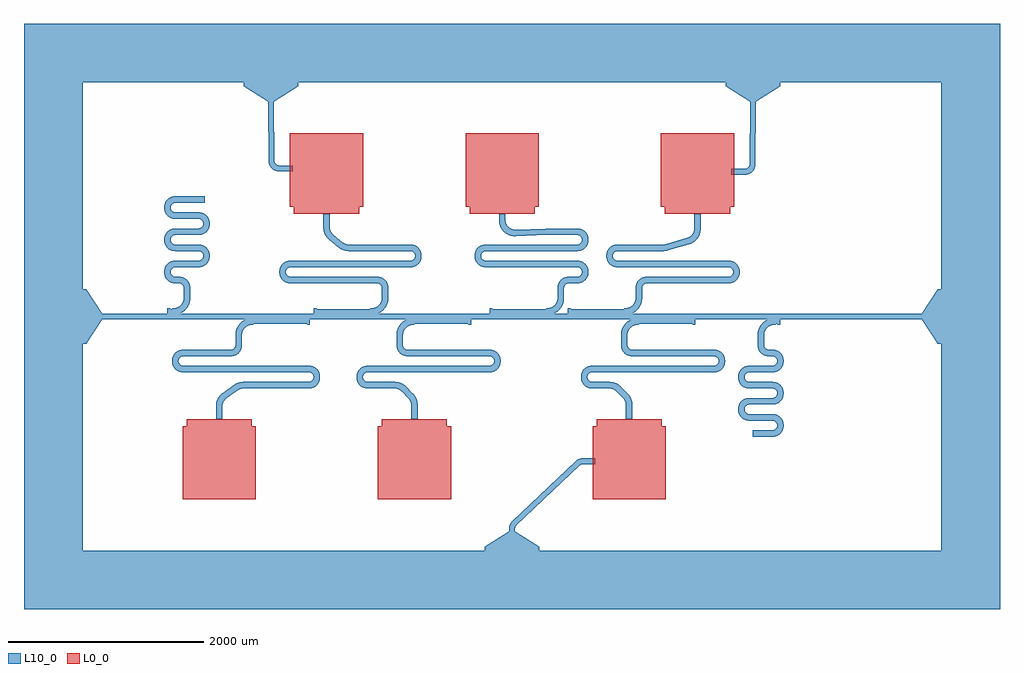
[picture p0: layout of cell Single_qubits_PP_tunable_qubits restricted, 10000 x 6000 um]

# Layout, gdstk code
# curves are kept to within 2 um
import gdstk
lib = gdstk.Library(unit=1e-6, precision=1e-09)
def R(c, l, rs):  # rectangles x0, y0, x1, y1
    for r in rs: c.add(gdstk.rectangle(r[:2], r[2:], *l))
def P(c, l, *ps):  # polygons
    for p in ps: c.add(gdstk.Polygon(p, *l))
L0_0 = (0, 0)
L10_0 = (10, 0)

single_qubits_pp_tunable = lib.new_cell('Single_qubits_PP_tunable_qubits restricted')
P(single_qubits_pp_tunable, L0_0, [(2725,4875),(2725,4125),(2766,4125),(2766,4051),(3434,4051),(3434,4125),(3475,4125),(3475,4875)],
  [(6566,4125),(6566,4051),(7234,4051),(7234,4125),(7275,4125),(7275,4875),(6525,4875),(6525,4125)],
  [(2375,1125),(2375,1875),(2334,1875),(2334,1949),(1666,1949),(1666,1875),(1625,1875),(1625,1125)],
  [(6534,1875),(6534,1949),(5866,1949),(5866,1875),(5825,1875),(5825,1125),(6575,1125),(6575,1875)],
  [(4375,1125),(4375,1875),(4334,1875),(4334,1949),(3666,1949),(3666,1875),(3625,1875),(3625,1125)],
  [(4525,4875),(4525,4125),(4566,4125),(4566,4051),(5234,4051),(5234,4125),(5275,4125),(5275,4875)],
  [(2725,4875),(2725,4125),(2766,4125),(2766,4051),(3434,4051),(3434,4125),(3475,4125),(3475,4875)],
  [(6566,4125),(6566,4051),(7234,4051),(7234,4125),(7275,4125),(7275,4875),(6525,4875),(6525,4125)],
  [(2375,1125),(2375,1875),(2334,1875),(2334,1949),(1666,1949),(1666,1875),(1625,1875),(1625,1125)],
  [(6534,1875),(6534,1949),(5866,1949),(5866,1875),(5825,1875),(5825,1125),(6575,1125),(6575,1875)],
  [(4375,1125),(4375,1875),(4334,1875),(4334,1949),(3666,1949),(3666,1875),(3625,1875),(3625,1125)],
  [(4525,4875),(4525,4125),(4566,4125),(4566,4051),(5234,4051),(5234,4125),(5275,4125),(5275,4875)],
  [(2725,4875),(2725,4125),(2766,4125),(2766,4051),(3434,4051),(3434,4125),(3475,4125),(3475,4875)],
  [(6566,4125),(6566,4051),(7234,4051),(7234,4125),(7275,4125),(7275,4875),(6525,4875),(6525,4125)],
  [(2375,1125),(2375,1875),(2334,1875),(2334,1949),(1666,1949),(1666,1875),(1625,1875),(1625,1125)],
  [(6534,1875),(6534,1949),(5866,1949),(5866,1875),(5825,1875),(5825,1125),(6575,1125),(6575,1875)],
  [(4375,1125),(4375,1875),(4334,1875),(4334,1949),(3666,1949),(3666,1875),(3625,1875),(3625,1125)],
  [(4525,4875),(4525,4125),(4566,4125),(4566,4051),(5234,4051),(5234,4125),(5275,4125),(5275,4875)])
R(single_qubits_pp_tunable, L10_0, [(7467.301,1769,7497.301,1834), (2167.5,2726.5,2232.5,2776.5), (3817.5,2726.5,3882.5,2776.5), (6117.5,2726.5,6182.5,2776.5), (7517.5,2726.5,7582.5,2776.5), (2900,2915,2930,2980), (4550,2915,4580,2980), (6850,2915,6880,2980), (7720,2915,7750,2980), (2350,2924,2900,3029), (4000,2924,4550,3029), (6300,2924,6850,3029), (7700,2924,7720,3029), (800,2971,9200,3029), (1500,2971,1520,3076), (3000,2971,3550,3076), (4800,2971,5350,3076), (5600,2971,6150,3076), (1470,3020,1500,3085), (2970,3020,3000,3085), (4770,3020,4800,3085), (5570,3020,5600,3085), (1637.5,3223.5,1702.5,3273.5), (3667.5,3223.5,3732.5,3273.5), (5467.5,3223.5,5532.5,3273.5), (6267.5,3223.5,6332.5,3273.5), (3338.319,3671,3663.661,3736), (6336.669,3671,6541.681,3736), (5354.646,3836,5557.548,3901), (1822.699,4166,1852.699,4231)])
P(single_qubits_pp_tunable, L10_0, [(10000,0),(10000,6000),(0,6000),(0,2721),(132,2721),(132,3279),(600,3279),(600,5400),(2251,5400),(2251,5868),(2809,5868),(2809,5400),(7191,5400),(7191,5868),(7749,5868),(7749,5400),(9400,5400),(9400,3279),(9868,3279),(9868,2721),(9400,2721),(9400,600),(5279,600),(5279,132),(4721,132),(4721,600),(600,600),(600,2721),(132,2721),(0,2721),(0,0)],
  [(800,2971),(800,3029),(640,3279),(132,3279),(132,2721),(640,2721)],
  [(9200,3029),(9200,2971),(9360,2721),(9868,2721),(9868,3279),(9360,3279)],
  [(2501,5200),(2559,5200),(2809,5360),(2809,5868),(2251,5868),(2251,5360)],
  [(7441,5200),(7499,5200),(7749,5360),(7749,5868),(7191,5868),(7191,5360)],
  [(5029,800),(4971,800),(4721,640),(4721,132),(5279,132),(5279,640)],
  [(10000,0),(10000,6000),(0,6000),(0,2721),(132,2721),(132,3279),(600,3279),(600,5400),(2251,5400),(2251,5868),(2809,5868),(2809,5400),(7191,5400),(7191,5868),(7749,5868),(7749,5400),(9400,5400),(9400,3279),(9868,3279),(9868,2721),(9400,2721),(9400,600),(5279,600),(5279,132),(4721,132),(4721,600),(600,600),(600,2721),(132,2721),(0,2721),(0,0)],
  [(800,2971),(800,3029),(640,3279),(132,3279),(132,2721),(640,2721)],
  [(9200,3029),(9200,2971),(9360,2721),(9868,2721),(9868,3279),(9360,3279)],
  [(2501,5200),(2559,5200),(2809,5360),(2809,5868),(2251,5868),(2251,5360)],
  [(7441,5200),(7499,5200),(7749,5360),(7749,5868),(7191,5868),(7191,5360)],
  [(5029,800),(4971,800),(4721,640),(4721,132),(5279,132),(5279,640)],
  [(10000,0),(10000,6000),(0,6000),(0,2721),(132,2721),(132,3279),(600,3279),(600,5400),(2251,5400),(2251,5868),(2809,5868),(2809,5400),(7191,5400),(7191,5868),(7749,5868),(7749,5400),(9400,5400),(9400,3279),(9868,3279),(9868,2721),(9400,2721),(9400,600),(5279,600),(5279,132),(4721,132),(4721,600),(600,600),(600,2721),(132,2721),(0,2721),(0,0)],
  [(800,2971),(800,3029),(640,3279),(132,3279),(132,2721),(640,2721)],
  [(9200,3029),(9200,2971),(9360,2721),(9868,2721),(9868,3279),(9360,3279)],
  [(2501,5200),(2559,5200),(2809,5360),(2809,5868),(2251,5868),(2251,5360)],
  [(7441,5200),(7499,5200),(7749,5360),(7749,5868),(7191,5868),(7191,5360)],
  [(5029,800),(4971,800),(4721,640),(4721,132),(5279,132),(5279,640)],
  [(3550,3085),(3550,3020),(3583.113,3020.82),(3611.972,3026.406),(3639.351,3037.099),(3664.357,3052.549),(3696.642,3084.802),(3720.724,3126.834),(3731.314,3167.961),(3732.5,3223.5),(3667.5,3223.5),(3664.659,3164.212),(3656.306,3142.214),(3641.02,3119.288),(3623.747,3103.369),(3601.341,3091.329),(3578.533,3085.712)],
  [(2695.254,3421.116),(2685.805,3436.098),(2682.5,3453.69),(2685.038,3473.812),(2695.254,3490.884),(2695.254,3565.494),(2663.447,3549.205),(2639.295,3525.053),(2623.504,3494.767),(2617.5,3458.69),(2621.218,3424.807),(2633.461,3395.733),(2653.295,3371.201),(2681.527,3351.976),(2695.254,3346.506)],
  [(2696.81,3492.477),(2711.567,3502.275),(2728.887,3505.985),(3663.661,3506),(3663.661,3571),(2722.094,3570.724),(2695.254,3565.494)],
  [(3663.661,3397.184),(3643.562,3403.507),(3620.19,3406),(2728.887,3406.015),(2710.545,3410.169),(2695.254,3421.116),(2695.254,3346.506),(2729.81,3341),(3622.226,3340.946),(3647.193,3332.443),(3663.661,3312.195)],
  [(3995.496,3730.248),(3962.637,3735.971),(3663.661,3736),(3663.661,3671),(3962.226,3670.946),(3980.465,3666.363),(3995.496,3655.061)],
  [(3960.19,3506),(3995.496,3511.752),(3995.496,3586.939),(3980.465,3575.637),(3962.226,3571.054),(3663.661,3571),(3663.661,3506)],
  [(3732.5,3293.69),(3727.317,3327.26),(3713.725,3355.728),(3690.732,3380.986),(3663.661,3397.184),(3663.661,3312.195),(3667.289,3297.948),(3667.5,3273.5),(3732.5,3273.5)],
  [(3996.267,3512.004),(4028.661,3529.38),(4052.24,3554.091),(4068.079,3587.265),(4072.5,3623.69),(4066.496,3659.767),(4050.705,3690.053),(4026.553,3714.205),(3995.496,3730.248),(3995.496,3655.061),(4004.591,3639.861),(4007.5,3623.31),(4004.962,3603.188),(3995.496,3586.939)],
  [(3338.319,3671),(3338.319,3736),(3303.731,3739.267),(3273.787,3752.972),(3165.76,3839.815),(3143.816,3867.57),(3136.402,3885.856),(3132.682,3907.232),(3132.5,4051),(3067.5,4051),(3069.132,3890.175),(3079.405,3852.101),(3098.547,3817.623),(3125.431,3788.771),(3245.339,3694.04),(3290.193,3675.639)],
  [(5350,3085),(5350,3020),(5383.113,3020.82),(5411.972,3026.406),(5439.351,3037.099),(5464.357,3052.549),(5496.642,3084.802),(5520.724,3126.834),(5531.314,3167.961),(5532.5,3223.5),(5467.5,3223.5),(5464.659,3164.212),(5456.306,3142.214),(5441.02,3119.288),(5423.747,3103.369),(5401.341,3091.329),(5378.533,3085.712)],
  [(4701.307,3580.652),(4687.629,3597.036),(4682.5,3618.69),(4686.669,3642.955),(4701.307,3661.348),(4701.307,3732.282),(4667.772,3717.225),(4640.88,3692.161),(4623.504,3659.767),(4617.5,3623.69),(4621.218,3589.807),(4633.461,3560.733),(4653.295,3536.201),(4679.16,3518.14),(4701.307,3509.718)],
  [(4702.807,3662.443),(4715.747,3668.809),(4730.19,3671),(5557.548,3671),(5557.548,3736),(4719.465,3735.508),(4701.307,3732.282)],
  [(5557.548,3571),(4730.19,3571),(4714.688,3573.538),(4701.307,3580.652),(4701.307,3509.718),(4729.81,3506),(5557.548,3506)],
  [(5532.5,3293.31),(5539.242,3317.889),(5557.548,3335.356),(5557.548,3403.731),(5526.821,3392.64),(5501.387,3373.978),(5482.134,3348.988),(5470.576,3319.635),(5467.5,3273.5),(5532.5,3273.5)],
  [(5698.988,3897.2),(5672.637,3900.971),(5557.548,3901),(5557.548,3836),(5673.338,3835.88),(5686.361,3833.091),(5698.988,3826.126)],
  [(5670.19,3671),(5698.988,3674.8),(5698.988,3745.874),(5686.361,3738.909),(5673.338,3736.12),(5557.548,3736),(5557.548,3671)],
  [(5698.988,3567.2),(5672.637,3570.971),(5557.548,3571),(5557.548,3506),(5673.338,3505.88),(5686.361,3503.091),(5698.988,3496.126)],
  [(5558.536,3335.871),(5576.662,3340.88),(5672.637,3341.029),(5698.988,3344.8),(5698.988,3415.874),(5674.448,3406.211),(5557.548,3403.731)],
  [(5701.235,3675.421),(5720.84,3683.14),(5720.84,3888.86),(5698.988,3897.2),(5698.988,3826.126),(5712.863,3808.965),(5717.5,3788.31),(5716.86,3775.74),(5713.331,3764.045),(5698.988,3745.874),(5698.988,3674.8)],
  [(5701.235,3345.421),(5720.84,3353.14),(5720.84,3558.86),(5698.988,3567.2),(5698.988,3496.126),(5712.863,3478.965),(5717.5,3458.31),(5716.86,3445.74),(5713.331,3434.045),(5698.988,3415.874),(5698.988,3344.8)],
  [(5723.179,3684.36),(5748.613,3703.022),(5767.866,3728.012),(5779.424,3757.365),(5782.5,3788.69),(5778.079,3819.735),(5765.158,3848.514),(5746.705,3870.799),(5720.84,3888.86),(5720.84,3683.14)],
  [(5723.179,3354.36),(5748.613,3373.022),(5767.866,3398.012),(5779.424,3427.365),(5782.5,3458.69),(5778.079,3489.735),(5765.158,3518.514),(5746.705,3540.799),(5720.84,3558.86),(5720.84,3353.14)],
  [(5354.646,3836),(5354.646,3901),(5031.796,3888.662),(5012.034,3890.315),(4991.186,3896.704),(4973.892,3906.408),(4958.918,3919.41),(4938.985,3951.183),(4932.684,3980.188),(4932.5,4051),(4867.5,4051),(4868.341,3969.618),(4873.165,3943.603),(4882.147,3918.717),(4896.921,3892.887),(4916.157,3870.184),(4939.21,3851.369),(4965.308,3837.074),(4996.808,3827.068),(5029.682,3823.642)],
  [(6150,3085),(6150,3020),(6183.113,3020.82),(6211.972,3026.406),(6239.351,3037.099),(6264.357,3052.549),(6296.642,3084.802),(6320.724,3126.834),(6331.314,3167.961),(6332.5,3223.5),(6267.5,3223.5),(6264.659,3164.212),(6256.306,3142.214),(6241.02,3119.288),(6223.747,3103.369),(6201.341,3091.329),(6178.533,3085.712)],
  [(6045.254,3586.116),(6035.805,3601.098),(6032.5,3618.69),(6035.038,3638.812),(6045.254,3655.884),(6045.254,3730.494),(6013.447,3714.205),(5989.295,3690.053),(5973.504,3659.767),(5967.5,3623.69),(5971.218,3589.807),(5983.461,3560.733),(6003.295,3536.201),(6031.527,3516.976),(6045.254,3511.506)],
  [(6046.023,3656.69),(6060.545,3666.831),(6077.774,3670.946),(6336.669,3671),(6336.669,3736),(6077.363,3735.971),(6051.307,3732.282),(6045.254,3730.494)],
  [(6336.669,3571),(6077.774,3571.054),(6060.545,3575.169),(6045.254,3586.116),(6045.254,3511.506),(6077.363,3506.029),(6336.669,3506)],
  [(6332.5,3293.31),(6336.669,3312.955),(6336.669,3397.318),(6309.268,3380.986),(6287.76,3357.909),(6273.504,3329.767),(6267.621,3298.773),(6267.5,3273.5),(6332.5,3273.5)],
  [(7255.496,3565.248),(7220.19,3571),(6336.669,3571),(6336.669,3506),(7221.113,3505.985),(7239.455,3501.831),(7255.496,3490.061)],
  [(6337.137,3313.965),(6354.662,3333.675),(6378.887,3340.985),(7233.158,3341.77),(7255.496,3346.752),(7255.496,3421.939),(7239.455,3410.169),(7221.113,3406.015),(6366.842,3405.23),(6336.669,3397.318)],
  [(7256.267,3347.004),(7288.661,3364.38),(7312.24,3389.091),(7328.079,3422.265),(7332.5,3458.69),(7326.496,3494.767),(7310.705,3525.053),(7286.553,3549.205),(7255.496,3565.248),(7255.496,3490.061),(7264.591,3474.861),(7267.5,3458.31),(7264.962,3438.188),(7255.496,3421.939)],
  [(6541.681,3736),(6541.681,3671),(6565.595,3671.842),(6594.654,3677.528),(6818.927,3743.373),(6846.4,3754.912),(6871.303,3771.273),(6890.604,3789.423),(6906.699,3810.469),(6919.16,3833.85),(6928.426,3862.169),(6932.468,3895.019),(6932.5,4051),(6867.5,4051),(6866.202,3882.491),(6854.099,3849.006),(6830.78,3822.099),(6797.294,3804.732),(6574.598,3739.406)],
  [(2350,2915),(2350,2980),(2316.887,2979.18),(2288.028,2973.594),(2260.649,2962.901),(2235.643,2947.451),(2203.358,2915.198),(2179.276,2873.166),(2168.686,2832.039),(2167.5,2776.5),(2232.5,2776.5),(2235.341,2835.788),(2243.694,2857.786),(2258.98,2880.712),(2276.253,2896.631),(2298.659,2908.671),(2321.467,2914.288)],
  [(1595.254,2509.116),(1585.805,2524.098),(1582.5,2541.69),(1585.038,2561.812),(1595.254,2578.884),(1595.254,2653.494),(1563.447,2637.205),(1539.295,2613.053),(1523.504,2582.767),(1517.5,2546.69),(1521.218,2512.807),(1533.461,2483.733),(1553.295,2459.201),(1581.527,2439.976),(1595.254,2434.506)],
  [(1596.023,2579.69),(1610.545,2589.831),(1628.887,2593.985),(2140.977,2595.971),(2164.962,2603.382),(2164.962,2691.188),(2158.943,2679.307),(2148.988,2668.874),(2136.361,2661.909),(2123.338,2659.12),(1609.023,2657.029),(1595.254,2653.494)],
  [(2164.962,2494),(1628.887,2494.015),(1610.545,2498.169),(1595.254,2509.116),(1595.254,2434.506),(1629.81,2429),(2164.962,2429)],
  [(2166.08,2603.868),(2196.705,2624.201),(2219.14,2653.321),(2230.529,2685.523),(2232.5,2726.5),(2167.5,2726.5),(2164.962,2691.188)],
  [(2955.496,2488.248),(2920.19,2494),(2164.962,2494),(2164.962,2429),(2921.113,2428.985),(2939.455,2424.831),(2955.496,2413.061)],
  [(2922.637,2264.029),(2955.496,2269.752),(2955.496,2344.939),(2939.455,2333.169),(2921.113,2329.015),(2258.319,2329),(2258.319,2264)],
  [(2956.267,2270.004),(2988.661,2287.38),(3012.24,2312.091),(3028.079,2345.265),(3032.5,2381.69),(3026.496,2417.767),(3010.705,2448.053),(2986.553,2472.205),(2955.496,2488.248),(2955.496,2413.061),(2964.591,2397.861),(2967.5,2381.31),(2964.962,2361.188),(2955.496,2344.939)],
  [(2258.319,2264),(2258.319,2329),(2228.76,2327.833),(2203.302,2322.671),(2178.991,2313.519),(2156.449,2300.61),(2032.913,2212.398),(2010.925,2192.667),(1984.77,2154.991),(1970.184,2111.507),(1967.532,2085.374),(1967.5,1949),(2032.5,1949),(2033.219,2093.891),(2041.997,2124.057),(2058.557,2148.433),(2199.765,2251.107),(2226.936,2261.648)],
  [(4000,2915),(4000,2980),(3966.887,2979.18),(3938.028,2973.594),(3910.649,2962.901),(3885.643,2947.451),(3853.358,2915.198),(3829.276,2873.166),(3818.686,2832.039),(3817.5,2776.5),(3882.5,2776.5),(3885.341,2835.788),(3893.694,2857.786),(3908.98,2880.712),(3926.253,2896.631),(3948.659,2908.671),(3971.467,2914.288)],
  [(3485.254,2344.116),(3475.805,2359.098),(3472.5,2376.69),(3475.038,2396.812),(3485.254,2413.884),(3485.254,2488.494),(3453.447,2472.205),(3429.295,2448.053),(3413.504,2417.767),(3407.5,2381.69),(3411.218,2347.807),(3423.461,2318.733),(3443.295,2294.201),(3471.527,2274.976),(3485.254,2269.506)],
  [(3885.409,2690.139),(3882.5,2726.5),(3817.5,2726.5),(3819.471,2685.523),(3830.86,2653.321),(3853.295,2624.201),(3885.409,2603.22)],
  [(3486.81,2415.477),(3501.567,2425.275),(3518.887,2428.985),(3885.409,2429),(3885.409,2494),(3499.023,2492.029),(3485.254,2488.494)],
  [(3791.681,2329),(3517.774,2329.054),(3500.545,2333.169),(3485.254,2344.116),(3485.254,2269.506),(3517.363,2264.029),(3791.681,2264)],
  [(4805.496,2653.248),(4770.19,2659),(3927.774,2659.054),(3913.639,2661.909),(3901.902,2668.205),(3892.374,2677.512),(3885.409,2690.139),(3885.409,2603.22),(3906.438,2596.493),(3929.81,2594),(4771.113,2593.985),(4789.455,2589.831),(4805.496,2578.061)],
  [(4770.19,2429),(4805.496,2434.752),(4805.496,2509.939),(4789.455,2498.169),(4771.113,2494.015),(3885.409,2494),(3885.409,2429)],
  [(4806.267,2435.004),(4838.661,2452.38),(4862.24,2477.091),(4878.079,2510.265),(4882.5,2546.69),(4876.496,2582.767),(4860.705,2613.053),(4836.553,2637.205),(4805.496,2653.248),(4805.496,2578.061),(4814.591,2562.861),(4817.5,2546.31),(4814.962,2526.188),(4805.496,2509.939)],
  [(3791.681,2329),(3791.681,2264),(3826.827,2260.108),(3858.399,2244.243),(3941.923,2161.295),(3958.183,2137.059),(3967.42,2099.375),(3967.5,1949),(4032.5,1949),(4031.687,2111.718),(4024.227,2146.665),(4007.605,2181.909),(3985.498,2209.778),(3912.606,2283.237),(3892.302,2299.939),(3869.57,2313.148),(3845.006,2322.518),(3819.252,2327.804)],
  [(6300,2915),(6300,2980),(6266.887,2979.18),(6238.028,2973.594),(6210.649,2962.901),(6185.643,2947.451),(6153.358,2915.198),(6129.276,2873.166),(6118.686,2832.039),(6117.5,2776.5),(6182.5,2776.5),(6185.341,2835.788),(6193.694,2857.786),(6208.98,2880.712),(6226.253,2896.631),(6248.659,2908.671),(6271.467,2914.288)],
  [(5785.254,2344.116),(5775.805,2359.098),(5772.5,2376.69),(5775.038,2396.812),(5785.254,2413.884),(5785.254,2488.494),(5753.447,2472.205),(5729.295,2448.053),(5713.504,2417.767),(5707.5,2381.69),(5711.218,2347.807),(5723.461,2318.733),(5743.295,2294.201),(5771.527,2274.976),(5785.254,2269.506)],
  [(6185.409,2690.139),(6182.5,2726.5),(6117.5,2726.5),(6119.471,2685.523),(6130.86,2653.321),(6153.295,2624.201),(6185.409,2603.22)],
  [(5786.81,2415.477),(5801.567,2425.275),(5818.887,2428.985),(6185.409,2429),(6185.409,2494),(5799.023,2492.029),(5785.254,2488.494)],
  [(5991.681,2329),(5816.662,2329.12),(5799.535,2333.637),(5785.254,2344.116),(5785.254,2269.506),(5817.363,2264.029),(5991.681,2264)],
  [(7105.496,2653.248),(7070.19,2659),(6227.774,2659.054),(6213.639,2661.909),(6201.902,2668.205),(6192.374,2677.512),(6185.409,2690.139),(6185.409,2603.22),(6206.438,2596.493),(6229.81,2594),(7071.113,2593.985),(7089.455,2589.831),(7105.496,2578.061)],
  [(7070.19,2429),(7105.496,2434.752),(7105.496,2509.939),(7089.455,2498.169),(7071.113,2494.015),(6185.409,2494),(6185.409,2429)],
  [(7106.267,2435.004),(7138.661,2452.38),(7162.24,2477.091),(7178.079,2510.265),(7182.5,2546.69),(7176.496,2582.767),(7160.705,2613.053),(7136.553,2637.205),(7105.496,2653.248),(7105.496,2578.061),(7114.591,2562.861),(7117.5,2546.31),(7114.962,2526.188),(7105.496,2509.939)],
  [(5991.681,2329),(5991.681,2264),(6026.827,2260.108),(6058.399,2244.243),(6141.923,2161.295),(6158.183,2137.059),(6167.42,2099.375),(6167.5,1949),(6232.5,1949),(6231.687,2111.718),(6224.227,2146.665),(6207.605,2181.909),(6185.498,2209.778),(6112.606,2283.237),(6092.302,2299.939),(6069.57,2313.148),(6045.006,2322.518),(6019.252,2327.804)],
  [(1520,3085),(1520,3020),(1553.113,3020.82),(1581.972,3026.406),(1609.351,3037.099),(1634.357,3052.549),(1666.642,3084.802),(1690.724,3126.834),(1701.314,3167.961),(1702.5,3223.5),(1637.5,3223.5),(1634.659,3164.212),(1626.306,3142.214),(1611.02,3119.288),(1593.747,3103.369),(1571.341,3091.329),(1548.533,3085.712)],
  [(1702.5,3293.69),(1697.317,3327.26),(1683.725,3355.728),(1662.763,3379.304),(1636.08,3396.132),(1595.273,3405.879),(1448.019,3406.015),(1471.387,3373.022),(1506.339,3349.816),(1539.465,3341.492),(1597.76,3340.36),(1617.193,3332.443),(1627.626,3322.488),(1634.962,3308.812),(1637.5,3273.5),(1702.5,3273.5)],
  [(1547.774,3406.054),(1532.598,3409.305),(1518.439,3418.004),(1508.681,3430.073),(1503.14,3445.74),(1502.971,3465.159),(1507.629,3479.964),(1518.439,3493.996),(1532.598,3502.695),(1548.887,3505.985),(1792.637,3506.029),(1823.76,3511.183),(1450.601,3511.183),(1441.218,3487.193),(1437.529,3461.137),(1439.471,3432.523),(1448.019,3406.015)],
  [(1826.267,3512.004),(1854.409,3526.26),(1879.12,3549.839),(1895.617,3579.747),(1902.224,3610.594),(1901.73,3636.658),(1835.638,3636.658),(1837.289,3614.052),(1832.371,3597.036),(1820.72,3582.274),(1804.253,3573.191),(1531.62,3569.491),(1506.339,3562.184),(1483.447,3549.205),(1464.196,3531.263),(1450.601,3511.183)],
  [(1901.391,3639.273),(1891.524,3671.973),(1872.299,3700.205),(1845.488,3721.366),(1813.562,3733.507),(1790.19,3736),(1548.887,3736.015),(1530.545,3740.169),(1446.182,3740.169),(1459.295,3716.947),(1477.237,3697.696),(1499.16,3683.14),(1526.438,3673.493),(1549.81,3671),(1794.448,3670.789),(1808.433,3667.275),(1820.72,3659.726),(1830.175,3648.838),(1835.638,3636.658),(1901.73,3636.658)],
  [(1529.535,3740.637),(1516.81,3749.523),(1508.144,3761.048),(1503.335,3774.644),(1502.554,3790.726),(1505.409,3804.861),(1511.705,3816.598),(1521.012,3826.126),(1533.639,3833.091),(1548.887,3835.985),(1797.906,3836.276),(1826.267,3842.004),(1852.636,3855.053),(1459.295,3855.053),(1445.321,3829.719),(1438.27,3801.658),(1438.27,3770.342),(1446.182,3740.169)],
  [(1854.409,3856.26),(1879.12,3879.839),(1895.617,3909.747),(1902.224,3940.594),(1900.007,3977.062),(1899.158,3980.693),(1828.943,3980.693),(1837.029,3960.159),(1835.309,3934.247),(1823.977,3915.31),(1805.312,3903.538),(1791.113,3901.015),(1534.227,3899.891),(1511.247,3894.117),(1492.233,3885.039),(1473.295,3870.799),(1459.295,3855.053)],
  [(1898.782,3982.193),(1886.539,4011.267),(1866.705,4035.799),(1840.84,4053.86),(1813.562,4063.507),(1790.19,4066),(1547.774,4066.054),(1530.545,4070.169),(1516.593,4079.74),(1442.683,4079.74),(1454.842,4053.486),(1473.295,4031.201),(1499.16,4013.14),(1526.438,4003.493),(1549.81,4001),(1792.226,4000.946),(1813.427,3994.819),(1828.943,3980.693)],
  [(1516.023,4080.31),(1504.37,4100.313),(1503.14,4126.26),(1512.374,4147.488),(1529.535,4161.363),(1548.887,4165.985),(1822.699,4166),(1822.699,4231),(1547.363,4230.971),(1523.865,4227.924),(1501.527,4220.024),(1473.295,4200.799),(1450.86,4171.679),(1439.471,4139.477),(1437.992,4102.965),(1442.683,4079.74)],
  [(7700,2915),(7700,2980),(7666.887,2979.18),(7638.028,2973.594),(7610.649,2962.901),(7585.643,2947.451),(7553.358,2915.198),(7529.276,2873.166),(7518.686,2832.039),(7517.5,2776.5),(7582.5,2776.5),(7585.341,2835.788),(7593.694,2857.786),(7608.98,2880.712),(7626.253,2896.631),(7648.659,2908.671),(7671.467,2914.288)],
  [(7672.637,1769.029),(7698.693,1772.718),(7723.179,1782.36),(7744.755,1797.426),(7762.24,1817.091),(7774.679,1840.281),(7781.391,1865.727),(7782.224,1894.406),(7777.246,1920.477),(7703.19,1920.477),(7715.927,1898.614),(7716.444,1871.552),(7705.496,1849.939),(7684.253,1836.191),(7671.113,1834.015),(7497.301,1834),(7497.301,1769)],
  [(7776.496,1922.767),(7763.725,1948.728),(7744.755,1970.574),(7720.84,1986.86),(7693.562,1996.507),(7670.19,1999),(7426.662,1999.12),(7405.611,2005.742),(7390.341,2020.365),(7320.576,2020.365),(7332.134,1991.012),(7351.387,1966.022),(7376.821,1947.36),(7406.438,1936.493),(7429.81,1934),(7672.226,1933.946),(7689.455,1929.831),(7703.19,1920.477),(7777.246,1920.477)],
  [(7389.825,2021.162),(7382.711,2042.052),(7385.038,2066.812),(7396.023,2084.69),(7414.688,2096.462),(7428.887,2098.985),(7685.773,2100.109),(7708.753,2105.883),(7727.767,2114.961),(7746.705,2129.201),(7760.904,2145.225),(7367.772,2145.225),(7342.514,2122.232),(7326.316,2095.161),(7318.27,2064.658),(7319.009,2028.12),(7320.576,2020.365)],
  [(7762.24,2147.091),(7775.617,2172.747),(7782.008,2200.965),(7781.391,2232.273),(7773.684,2260.161),(7688.695,2260.161),(7701.561,2251.996),(7711.319,2239.927),(7716.444,2226.448),(7717.485,2210.387),(7715.309,2197.247),(7708.943,2184.307),(7698.988,2173.874),(7686.361,2166.909),(7671.113,2164.015),(7422.094,2163.724),(7393.733,2157.996),(7367.772,2145.225)],
  [(7772.632,2262.58),(7759.12,2285.161),(7740.732,2303.986),(7718.473,2318.024),(7693.562,2326.507),(7670.19,2329),(7425.552,2329.211),(7411.567,2332.725),(7399.28,2340.274),(7389.825,2351.162),(7384.073,2364.386),(7318.159,2364.386),(7327.368,2330.42),(7345.926,2301.745),(7372.233,2279.961),(7406.438,2266.493),(7429.81,2264),(7671.113,2263.985),(7688.695,2260.161),(7773.684,2260.161)],
  [(7383.802,2365.466),(7382.711,2385.948),(7387.629,2402.964),(7399.28,2417.726),(7415.747,2426.809),(7690.977,2430.971),(7716.08,2438.868),(7736.553,2450.795),(7755.804,2468.737),(7770.163,2490.282),(7396.24,2488.817),(7365.591,2473.74),(7342.514,2452.232),(7325.321,2422.719),(7317.992,2392.035),(7318.159,2364.386)],
  [(7770.36,2490.66),(7778.782,2512.807),(7782.471,2538.863),(7780.529,2567.477),(7771.975,2594),(7669.81,2594),(7685.312,2591.462),(7699.862,2583.436),(7710.758,2570.889),(7716.665,2555.356),(7717.172,2535.945),(7712.371,2520.036),(7701.561,2506.004),(7687.402,2497.305),(7671.113,2494.015),(7427.363,2493.971),(7401.307,2490.282)],
  [(7771.524,2594.973),(7746.705,2628.799),(7713.661,2650.184),(7680.535,2658.508),(7622.24,2659.64),(7602.807,2667.557),(7592.374,2677.512),(7585.038,2691.188),(7582.5,2726.5),(7517.5,2726.5),(7519.009,2688.12),(7529.64,2655.66),(7549.522,2627.887),(7579.16,2606.14),(7601.307,2597.718),(7624.727,2594.121)],
  [(2752,4485),(2652,4488.5),(2652,4546.5),(2752,4550)],
  [(2559,5200),(2501,5200),(2507.413,4583.431),(2512.948,4560.571),(2523.258,4539.43),(2537.863,4520.993),(2556.083,4506.118),(2574.631,4496.451),(2594.684,4490.505),(2652,4488.5),(2652,4546.5),(2610.611,4546.737),(2591.933,4552.276),(2573.7,4568.29),(2564.932,4590.918)],
  [(7248,4515),(7348,4511.5),(7348,4453.5),(7248,4450)],
  [(7499,5200),(7441,5200),(7435.328,4552.376),(7425.732,4531.36),(7406.74,4516.207),(7389.022,4511.635),(7348,4511.5),(7348,4453.5),(7403.61,4455.039),(7423.823,4460.515),(7442.615,4469.755),(7459.294,4482.418),(7474.768,4500.17),(7485.037,4518.42),(7492.178,4540.861)],
  [(5852,1485),(5752,1488.5),(5752,1546.5),(5852,1550)],
  [(4971,800),(5029,800),(5030.758,837.873),(5045.092,861.787),(5694.276,1475.406),(5717.271,1487.27),(5752,1488.5),(5752,1546.5),(5720.412,1546.21),(5699.455,1542.591),(5677.233,1533.75),(5657.473,1520.276),(5004.998,903.698),(4987.092,881.61),(4976.229,857.967),(4971.497,835.022)])

lib.write_gds('Single_qubits_PP_tunable_qubits_restricted.gds')
